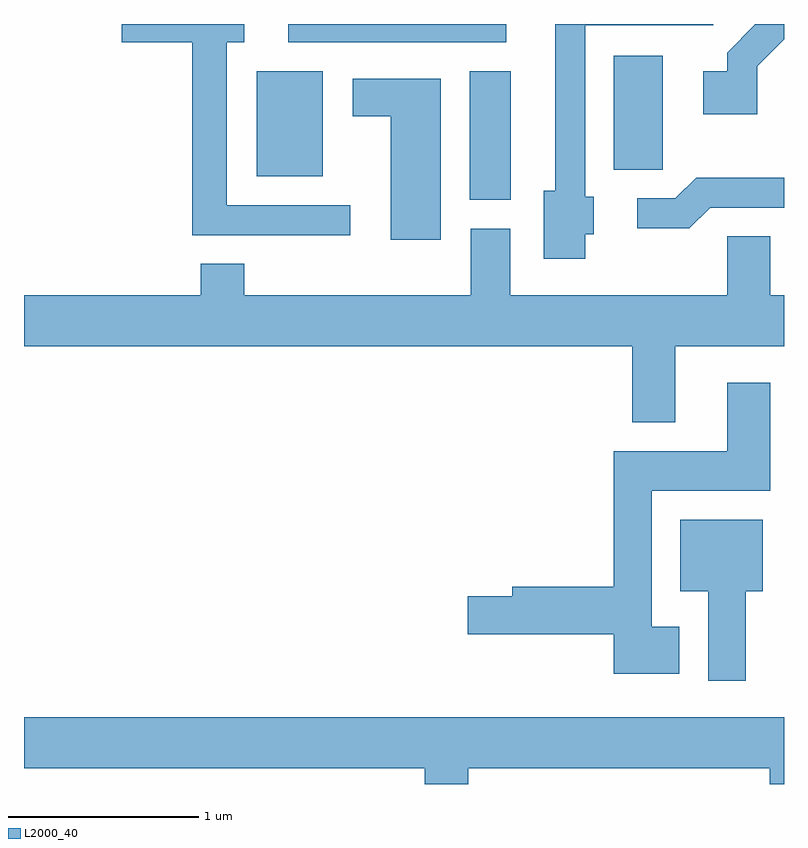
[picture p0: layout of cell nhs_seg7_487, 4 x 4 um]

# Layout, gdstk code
import gdstk
lib = gdstk.Library(unit=1e-6, precision=1e-09)
def R(c, l, rs):  # rectangles x0, y0, x1, y1
    for r in rs: c.add(gdstk.rectangle(r[:2], r[2:], *l))
def P(c, l, *ps):  # polygons
    for p in ps: c.add(gdstk.Polygon(p, *l))
L2000_40 = (2000, 40)

nhs_seg7_487 = lib.new_cell('nhs_seg7_487')
R(nhs_seg7_487, L2000_40, [(201.956,1697.326,202.174,1698.004), (200.836,1697.451,201.184,1698.004), (202.716,1697.486,202.974,1698.084), (201.001,1698.156,202.149,1698.252)])
P(nhs_seg7_487, L2000_40, [(201.328,1697.299),(200.679,1697.299),(200.679,1698.156),(200.769,1698.156),(200.769,1698.252),(200.126,1698.252),(200.126,1698.156),(200.496,1698.156),(200.496,1697.141),(201.328,1697.141)],
  [(202.564,1697.146),(202.609,1697.146),(202.609,1697.344),(202.564,1697.344),(202.564,1698.246),(203.238,1698.246),(203.238,1698.252),(202.406,1698.252),(202.406,1697.374),(202.346,1697.374),(202.346,1697.016),(202.564,1697.016)],
  [(203.469,1698.029),(203.611,1698.171),(203.611,1698.252),(203.456,1698.252),(203.456,1698.247),(203.311,1698.102),(203.311,1698.004),(203.186,1698.004),(203.186,1697.776),(203.469,1697.776)],
  [(201.804,1697.964),(201.341,1697.964),(201.341,1697.766),(201.541,1697.766),(201.541,1697.116),(201.804,1697.116)],
  [(203.222,1697.286),(203.611,1697.286),(203.611,1697.444),(203.149,1697.444),(203.039,1697.334),(202.838,1697.334),(202.838,1697.176),(203.112,1697.176)],
  [(203.039,1696.556),(203.611,1696.556),(203.611,1696.824),(203.539,1696.824),(203.539,1697.134),(203.311,1697.134),(203.311,1696.824),(202.169,1696.824),(202.169,1697.174),(201.961,1697.174),(201.961,1696.824),(200.769,1696.824),(200.769,1696.989),(200.541,1696.989),(200.541,1696.824),(199.611,1696.824),(199.611,1696.556),(202.811,1696.556),(202.811,1696.156),(203.039,1696.156)],
  [(203.059,1695.079),(202.914,1695.079),(202.914,1695.796),(203.539,1695.796),(203.539,1696.364),(203.311,1696.364),(203.311,1696.004),(202.716,1696.004),(202.716,1695.289),(202.181,1695.289),(202.181,1695.239),(201.946,1695.239),(201.946,1695.041),(202.716,1695.041),(202.716,1694.831),(203.059,1694.831)],
  [(203.409,1695.266),(203.499,1695.266),(203.499,1695.644),(203.066,1695.644),(203.066,1695.266),(203.211,1695.266),(203.211,1694.796),(203.409,1694.796)],
  [(201.949,1694.336),(203.536,1694.336),(203.536,1694.252),(203.611,1694.252),(203.611,1694.604),(199.611,1694.604),(199.611,1694.336),(201.721,1694.336),(201.721,1694.252),(201.949,1694.252)])

lib.write_gds('nhs_seg7_487.gds')
